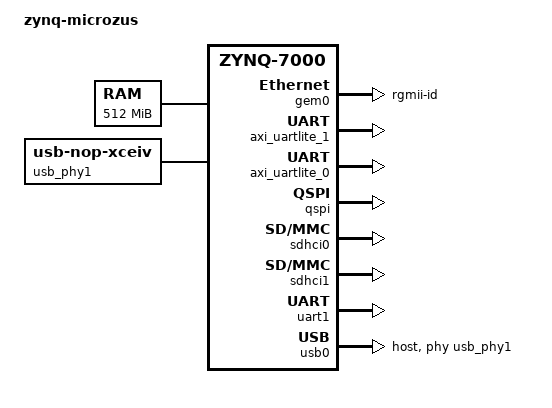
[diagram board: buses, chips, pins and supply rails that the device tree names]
/dts-v1/;
/include/ "zynq-7000.dtsi"
/include/ "pl-macrophone.dtsi"

/ {
	#address-cells = <0x1>;
	#size-cells = <0x1>;
	compatible = "xlnx,zynq-7000";
	model = "zynq-microzus";
	cpus {
		cpu@0 {
			operating-points = <666666 1000000 333333 1000000>;
		};
	};

	chosen {
		bootargs = "console=ttyPS0,115200 root=/dev/mmcblk0p2 rw earlyprintk rootfstype=ext4 rootwait devtmpfs.mount=1";
	};
	aliases {
		ethernet0 = &gem0;
		serial0 = &uart1;
		serial1 = &axi_uartlite_1;
		serial2 = &axi_uartlite_0;
		spi0 = &qspi;
	};
	memory {
		device_type = "memory";
		reg = <0x0 0x20000000>;
	};
	usb_phy1: phy{
		compatible = "usb-nop-xceiv";
		#phy-cells = <0>;
	};

};

&gem0 {
	phy-mode = "rgmii-id";
	status = "okay";
	xlnx,ptp-enet-clock = <0x69f6bcb>;
	local-mac-address = [00 0a 35 00 1e 53];
};
&gpio0 {
	emio-gpio-width = <64>;
	gpio-mask-high = <0x0>;
	gpio-mask-low = <0x5600>;
};
&intc {
	num_cpus = <2>;
	num_interrupts = <96>;
};

&axi_uartlite_1 {
	status = "okay";
};

&axi_uartlite_0 {
	status = "okay";
};

&qspi {
	is-dual = <0>;
	num-cs = <1>;
	status = "okay";
};
&sdhci0 {
	status = "okay";
	xlnx,has-cd = <0x0>;
	xlnx,has-power = <0x0>;
	xlnx,has-wp = <0x0>;
};
&sdhci1 {
	status = "okay";
	xlnx,has-cd = <0x0>;
	xlnx,has-power = <0x0>;
	xlnx,has-wp = <0x0>;
};
&uart1 {
	device_type = "serial";
	port-number = <0>;
	status = "okay";
};
&usb0 {
	dr_mode = "host";
	phy_type = "ulpi";
	status = "okay";
	usb-reset = <&gpio0 46 0>;
	usb-phy = <&usb_phy1>;
};
&clkc {
	fclk-enable = <0x3>;
	ps-clk-frequency = <33333333>;
};
